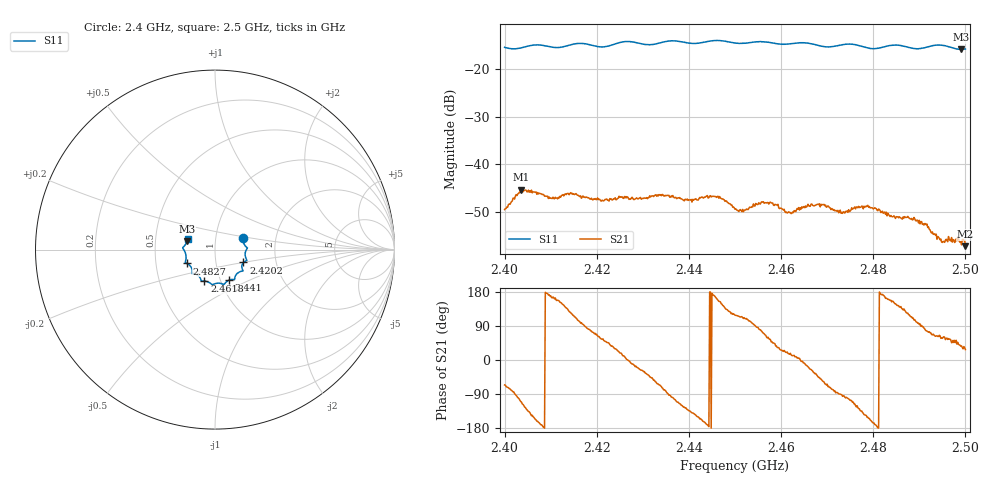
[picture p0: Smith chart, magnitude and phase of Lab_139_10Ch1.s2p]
# Hz S RI R 50
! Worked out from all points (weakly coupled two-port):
!   601 points, 2.4 GHz to 2.5 GHz, reference 50 ohm
!   highest |S21| = -45.37 dB at 2.4035 GHz (marker M1); lowest = -57.3 dB at 2.5 GHz (marker M2)
!   lowest |S11| = -15.8 dB at 2.499 GHz (marker M3), VSWR 1.39, Z = 36.4 + j3.48 ohm
!   |S11| at or under -10 dB: start of sweep to end of sweep
!   S12 and S22 are empty: the file has one direction only
!   S11 on the Smith chart (normalised r, x): 2.4 GHz: 1.36, +0.18; 2.4202 GHz: 1.36, -0.20; 2.441 GHz: 1.10, -0.39; 2.4618 GHz: 0.84, -0.30; 2.4827 GHz: 0.72, -0.12; 2.5 GHz: 0.73, +0.09
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2.4e9  0.1583 0.0627  0.00136 -0.00303  0 0  0 0
2.4035e9  0.1661 0.0233  -0.0018 -0.00508  0 0  0 0
2.410333e9  0.1709 -0.00943  -0.00417 0.00121  0 0  0 0
2.414167e9  0.1732 -0.0502  -0.00291 0.00393  0 0  0 0
2.416667e9  0.1774 -0.0606  -0.000642 0.00432  0 0  0 0
2.420167e9  0.1583 -0.0713  0.00194 0.00395  0 0  0 0
2.426333e9  0.1565 -0.1182  0.00454 0.000366  0 0  0 0
2.433333e9  0.1117 -0.1508  0.00208 -0.00412  0 0  0 0
2.441e9  0.0786 -0.1699  -0.00324 -0.00263  0 0  0 0
2.446167e9  0.0499 -0.1951  -0.00427 0.00161  0 0  0 0
2.45e9  0.0282 -0.1872  -0.00159 0.00295  0 0  0 0
2.4575e9  -0.0221 -0.1906  0.00227 0.00321  0 0  0 0
2.461833e9  -0.0591 -0.1757  0.00298 0.000809  0 0  0 0
2.466667e9  -0.0786 -0.1681  0.00338 -0.00173  0 0  0 0
2.4735e9  -0.1229 -0.1347  -0.000251 -0.00314  0 0  0 0
2.478667e9  -0.1284 -0.1087  -0.00319 -0.00176  0 0  0 0
2.482667e9  -0.1562 -0.0774  -0.00282 0.000879  0 0  0 0
2.483333e9  -0.1604 -0.0754  -0.00276 0.001  0 0  0 0
2.490833e9  -0.1669 -0.0135  8.9e-05 0.00235  0 0  0 0
2.495e9  -0.1786 0.0122  0.00081 0.00126  0 0  0 0
2.499e9  -0.1552 0.0465  0.00122 0.0009  0 0  0 0
2.5e9  -0.152 0.0605  0.00121 0.000631  0 0  0 0
